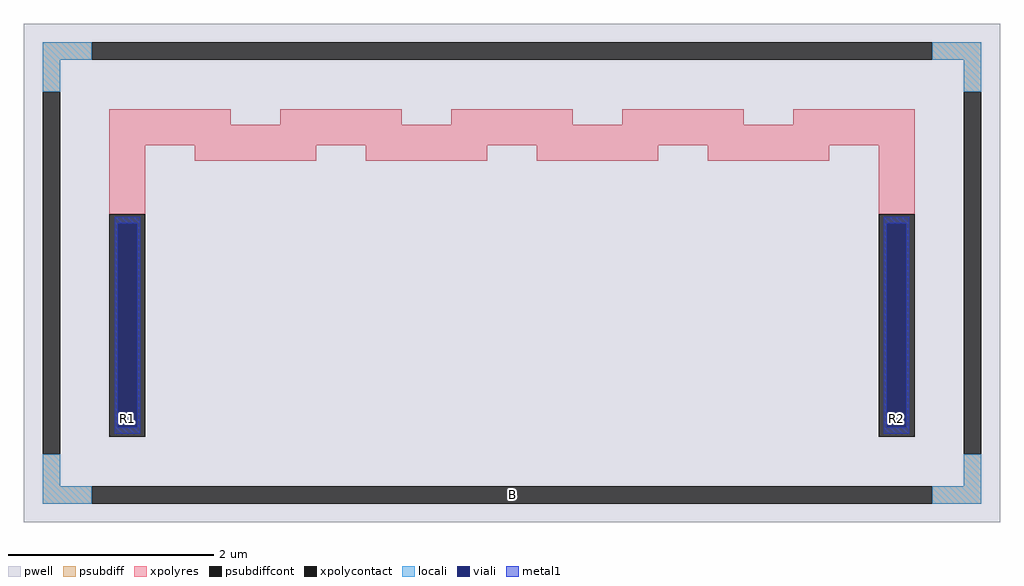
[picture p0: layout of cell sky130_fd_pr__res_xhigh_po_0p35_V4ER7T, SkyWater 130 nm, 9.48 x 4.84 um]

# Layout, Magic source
magic
tech sky130A
magscale 1 2
<< pwell >>
rect -948 -484 948 484
<< psubdiff >>
rect -912 414 -816 448
rect 816 414 912 448
rect -912 352 -878 414
rect 878 352 912 414
rect -912 -414 -878 -352
rect 878 -414 912 -352
rect -912 -448 -816 -414
rect 816 -448 912 -414
<< psubdiffcont >>
rect -816 414 816 448
rect -912 -352 -878 352
rect 878 -352 912 352
rect -816 -448 816 -414
<< xpolycontact >>
rect -782 -318 -712 114
rect 712 -318 782 114
<< xpolyres >>
rect -782 288 -546 318
rect -450 288 -214 318
rect -118 288 118 318
rect 214 288 450 318
rect 546 288 782 318
rect -782 248 782 288
rect -782 114 -712 248
rect -616 218 -380 248
rect -284 218 -48 248
rect 48 218 284 248
rect 380 218 616 248
rect 712 114 782 248
<< locali >>
rect -912 414 -816 448
rect 816 414 912 448
rect -912 352 -878 414
rect 878 352 912 414
rect -912 -414 -878 -352
rect 878 -414 912 -352
rect -912 -448 -816 -414
rect 816 -448 912 -414
<< viali >>
rect -766 -300 -728 97
rect 728 -300 766 97
<< metal1 >>
rect -772 97 -722 109
rect -772 -300 -766 97
rect -728 -300 -722 97
rect -772 -312 -722 -300
rect 722 97 772 109
rect 722 -300 728 97
rect 766 -300 772 97
rect 722 -312 772 -300
<< labels >>
rlabel psubdiffcont 0 -431 0 -431 0 B
port 1 nsew
rlabel xpolycontact -747 -283 -747 -283 0 R1
port 2 nsew
rlabel xpolycontact 747 -283 747 -283 0 R2
port 3 nsew
<< properties >>
string FIXED_BBOX -895 -431 895 431
string gencell sky130_fd_pr__res_xhigh_po_0p35
string library sky130
string parameters w 0.35 l 0.5 m 1 nx 10 wmin 0.350 lmin 0.50 class resistor rho 2000 val 47.646k dummy 0 dw 0.0 term 188.2 sterm 0.0 caplen 0 wmax 0.350 guard 1 glc 1 grc 1 gtc 1 gbc 1 compatible {sky130_fd_pr__res_xhigh_po_0p35  sky130_fd_pr__res_xhigh_po_0p69 sky130_fd_pr__res_xhigh_po_1p41  sky130_fd_pr__res_xhigh_po_2p85 sky130_fd_pr__res_xhigh_po_5p73} snake 1 full_metal 1 n_guard 0 hv_guard 0 vias 1 viagb 0 viagt 0 viagl 0 viagr 0 doports 1
<< end >>
